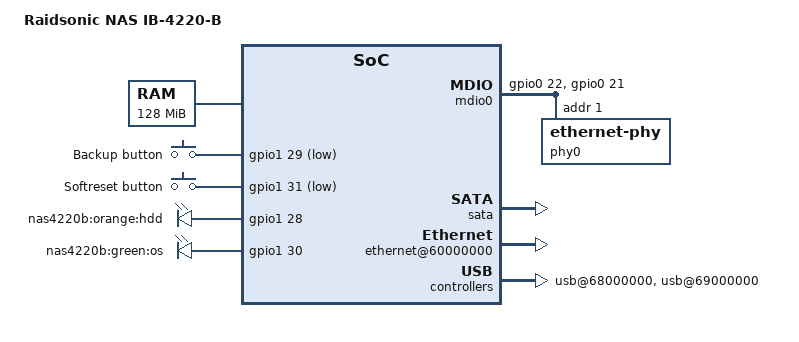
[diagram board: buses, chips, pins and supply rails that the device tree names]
// SPDX-License-Identifier: GPL-2.0
/*
 * Device Tree file for the Gemini-based Raidsonic NAS IB-4220-B
 */

/dts-v1/;

#include "gemini.dtsi"
#include <dt-bindings/input/input.h>

/ {
	model = "Raidsonic NAS IB-4220-B";
	compatible = "raidsonic,ib-4220-b", "cortina,gemini";
	#address-cells = <1>;
	#size-cells = <1>;

	memory@0 { /* 128 MB */
		device_type = "memory";
		reg = <0x00000000 0x8000000>;
	};

	chosen {
		bootargs = "console=ttyS0,19200n8 root=/dev/mtdblock3 rw rootfstype=squashfs,jffs2 rootwait";
		stdout-path = &uart0;
	};

	gpio_keys {
		compatible = "gpio-keys";

		button-setup {
			debounce-interval = <100>;
			wakeup-source;
			linux,code = <KEY_SETUP>;
			label = "Backup button";
			/* Conflict with TVC */
			gpios = <&gpio1 29 GPIO_ACTIVE_LOW>;
		};
		button-restart {
			debounce-interval = <100>;
			wakeup-source;
			linux,code = <KEY_RESTART>;
			label = "Softreset button";
			/* Conflict with TVC */
			gpios = <&gpio1 31 GPIO_ACTIVE_LOW>;
		};
	};

	leds {
		compatible = "gpio-leds";
		led-orange-hdd {
			label = "nas4220b:orange:hdd";
			/* Conflict with TVC */
			gpios = <&gpio1 28 GPIO_ACTIVE_HIGH>;
			default-state = "on";
		};
		led-green-os {
			label = "nas4220b:green:os";
			/* Conflict with TVC */
			gpios = <&gpio1 30 GPIO_ACTIVE_HIGH>;
			default-state = "on";
			linux,default-trigger = "heartbeat";
		};
	};

	mdio0: mdio {
		compatible = "virtual,mdio-gpio";
		gpios = <&gpio0 22 GPIO_ACTIVE_HIGH>, /* MDC */
			<&gpio0 21 GPIO_ACTIVE_HIGH>; /* MDIO */
		#address-cells = <1>;
		#size-cells = <0>;

		phy0: ethernet-phy@1 {
			reg = <1>;
			device_type = "ethernet-phy";
		};
	};

	soc {
		flash@30000000 {
			status = "okay";
			/* 16MB of flash */
			reg = <0x30000000 0x01000000>;

			partitions {
				compatible = "redboot-fis";
				/* Eraseblock at 0xfe0000 */
				fis-index-block = <0x7f>;
			};
		};

		syscon: syscon@40000000 {
			pinctrl {
				/*
				 * gpio1dgrp cover line 28-31 otherwise used
				 * by TVC.
				 */
				gpio1_default_pins: pinctrl-gpio1 {
					mux {
						function = "gpio1";
						groups = "gpio1dgrp";
					};
				};
				pinctrl-gmii {
					mux {
						function = "gmii";
						groups = "gmii_gmac0_grp";
					};
					/* Settings come from OpenWRT, pins on SL3516 */
					conf0 {
						pins = "V8 GMAC0 RXDV", "T10 GMAC1 RXDV";
						skew-delay = <0>;
					};
					conf1 {
						pins = "Y7 GMAC0 RXC", "Y11 GMAC1 RXC";
						skew-delay = <15>;
					};
					conf2 {
						pins = "T8 GMAC0 TXEN", "W11 GMAC1 TXEN";
						skew-delay = <7>;
					};
					conf3 {
						pins = "U8 GMAC0 TXC";
						skew-delay = <11>;
					};
					conf4 {
						pins = "V11 GMAC1 TXC";
						skew-delay = <10>;
					};
					conf5 {
						/* The data lines all have default skew */
						pins = "W8 GMAC0 RXD0", "V9 GMAC0 RXD1",
						       "Y8 GMAC0 RXD2", "U9 GMAC0 RXD3",
						       "T7 GMAC0 TXD0", "U6 GMAC0 TXD1",
						       "V7 GMAC0 TXD2", "U7 GMAC0 TXD3",
						       "Y12 GMAC1 RXD0", "V12 GMAC1 RXD1",
						       "T11 GMAC1 RXD2", "W12 GMAC1 RXD3",
						       "U10 GMAC1 TXD0", "Y10 GMAC1 TXD1",
						       "W10 GMAC1 TXD2", "T9 GMAC1 TXD3";
						skew-delay = <7>;
					};
					/* Set up drive strength on GMAC0 to 16 mA */
					conf6 {
						groups = "gmii_gmac0_grp";
						drive-strength = <16>;
					};
				};
			};
		};

		sata: sata@46000000 {
			cortina,gemini-ata-muxmode = <0>;
			cortina,gemini-enable-sata-bridge;
			status = "okay";
		};

		gpio1: gpio@4e000000 {
			pinctrl-names = "default";
			pinctrl-0 = <&gpio1_default_pins>;
		};

		ethernet@60000000 {
			status = "okay";

			ethernet-port@0 {
				phy-mode = "rgmii";
				phy-handle = <&phy0>;
			};
			ethernet-port@1 {
				/* Not used in this platform */
			};
		};

		ide@63000000 {
			status = "okay";
		};

		ide@63400000 {
			status = "okay";
		};

		usb@68000000 {
			status = "okay";
		};

		usb@69000000 {
			status = "okay";
		};
	};
};
